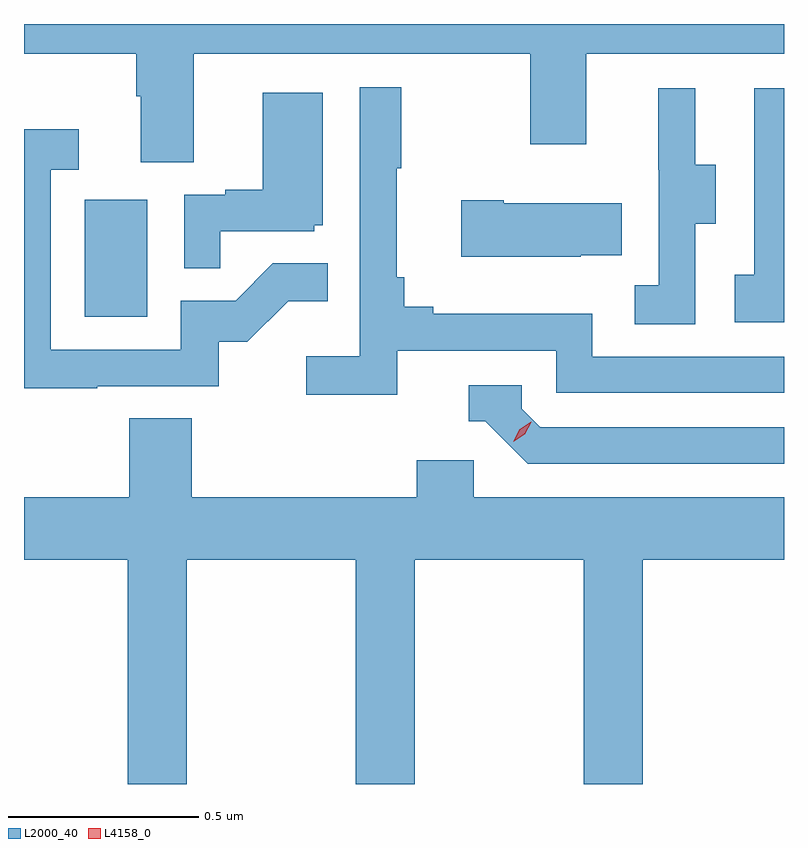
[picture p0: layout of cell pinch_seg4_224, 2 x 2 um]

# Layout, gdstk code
import gdstk
lib = gdstk.Library(unit=1e-6, precision=1e-09)
def R(c, l, rs):  # rectangles x0, y0, x1, y1
    for r in rs: c.add(gdstk.rectangle(r[:2], r[2:], *l))
def P(c, l, *ps):  # polygons
    for p in ps: c.add(gdstk.Polygon(p, *l))
L2000_40 = (2000, 40)
L4158_0 = (4158, 0)

pinch_seg4_224 = lib.new_cell('pinch_seg4_224')
R(pinch_seg4_224, L2000_40, [(986.276,821.436,986.44,821.743)])
P(pinch_seg4_224, L2000_40, [(986.563,822.128),(987.448,822.128),(987.448,821.889),(987.595,821.889),(987.595,822.128),(988.116,822.128),(988.116,822.206),(986.116,822.206),(986.116,822.128),(986.411,822.128),(986.411,822.016),(986.423,822.016),(986.423,821.842),(986.563,821.842)],
  [(987.098,821.346),(987.516,821.346),(987.516,821.235),(988.116,821.235),(988.116,821.331),(987.612,821.331),(987.612,821.443),(987.193,821.443),(987.193,821.462),(987.116,821.462),(987.116,821.539),(987.097,821.539),(987.097,821.827),(987.109,821.827),(987.109,822.04),(987,822.04),(987,821.332),(986.859,821.332),(986.859,821.23),(987.098,821.23)],
  [(987.882,821.68),(987.937,821.68),(987.937,821.835),(987.883,821.835),(987.883,822.037),(987.785,822.037),(987.785,821.823),(987.786,821.823),(987.786,821.519),(987.723,821.519),(987.723,821.416),(987.882,821.416)],
  [(988.116,822.037),(988.038,822.037),(988.038,821.546),(987.987,821.546),(987.987,821.421),(988.116,821.421)],
  [(986.633,821.661),(986.88,821.661),(986.88,821.676),(986.902,821.676),(986.902,822.025),(986.744,822.025),(986.744,821.77),(986.645,821.77),(986.645,821.757),(986.538,821.757),(986.538,821.563),(986.633,821.563)],
  [(986.309,821.253),(986.628,821.253),(986.628,821.37),(986.704,821.37),(986.811,821.477),(986.915,821.477),(986.915,821.576),(986.771,821.576),(986.673,821.478),(986.529,821.478),(986.529,821.349),(986.187,821.349),(986.187,821.823),(986.26,821.823),(986.26,821.929),(986.116,821.929),(986.116,821.248),(986.309,821.248)],
  [(987.581,821.597),(987.689,821.597),(987.689,821.734),(987.379,821.734),(987.379,821.742),(987.267,821.742),(987.267,821.594),(987.581,821.594)],
  [(988.116,821.145),(987.474,821.145),(987.426,821.193),(987.426,821.256),(987.287,821.256),(987.287,821.16),(987.33,821.16),(987.441,821.049),(988.116,821.049)],
  [(986.544,820.796),(986.989,820.796),(986.989,820.206),(987.144,820.206),(987.144,820.796),(987.589,820.796),(987.589,820.206),(987.744,820.206),(987.744,820.796),(988.116,820.796),(988.116,820.96),(987.3,820.96),(987.3,821.058),(987.149,821.058),(987.149,820.96),(986.558,820.96),(986.558,821.168),(986.393,821.168),(986.393,820.96),(986.116,820.96),(986.116,820.796),(986.389,820.796),(986.389,820.206),(986.544,820.206)])
P(pinch_seg4_224, L4158_0, [(987.403,821.107),(987.403,821.107),(987.42,821.14),(987.451,821.159),(987.451,821.159),(987.451,821.158),(987.434,821.126),(987.403,821.107)])

lib.write_gds('pinch_seg4_224.gds')
